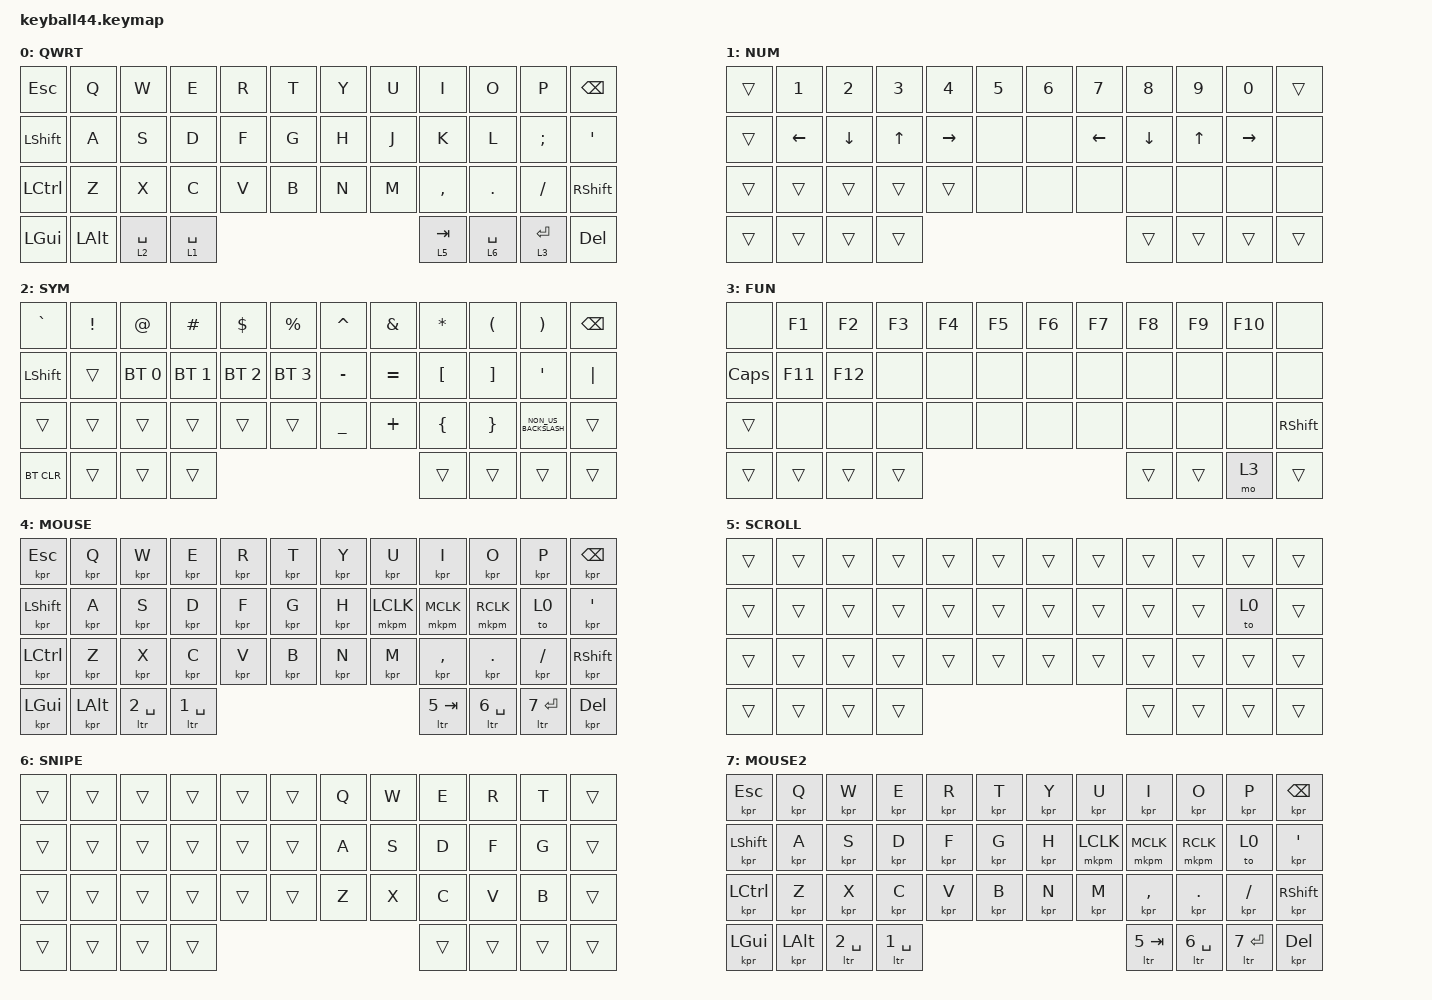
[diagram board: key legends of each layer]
#define DEFAULT 0
#define NUM     1
#define SYM     2
#define FUN     3
#define MOUSE   4
#define SCROLL  5
#define SNIPE   6
#define MOUSE2  7

#include <behaviors/mouse_keys.dtsi>
#include <behaviors.dtsi>
#include <dt-bindings/zmk/bt.h>
#include <dt-bindings/zmk/keys.h>
#include <dt-bindings/zmk/mouse.h>

&lt {
    tapping-term-ms = <120>;
    flavor = "balanced";
    quick-tap-ms = <85>;
};

&mt {
    tapping-term-ms = <200>;
    flavor = "tap-preferred";
    quick-tap-ms = <100>;
};

&sl {
    release-after-ms = <2000>;
};

&caps_word { continue-list = <UNDERSCORE MINUS>; };

/ { 
    // Mouse Click Macros
    mkpm: mouse_click_macro {
        compatible = "zmk,behavior-macro-one-param";
        #binding-cells = <1>;
        wait-ms = <0>;
        tap-ms = <0>;
        bindings = <&sl MOUSE2>,
                   <&macro_param_1to1>, 
                   <&macro_press &mkp MACRO_PLACEHOLDER>,
                   <&macro_pause_for_release>,
                   <&macro_param_1to1>,
                   <&macro_release &mkp MACRO_PLACEHOLDER>;
    };
	
	//	LAYER JUMP
	lj: layer_jump {
        compatible = "zmk,behavior-macro-one-param";
        #binding-cells = <1>;
        wait-ms = <0>;
        tap-ms = <0>;
        bindings = <&macro_param_1to1>, 
                   <&to MACRO_PLACEHOLDER>,
                   <&macro_pause_for_release>,
                   <&to 0>;
	};
	
	kpr: key_press_return {
        compatible = "zmk,behavior-macro-one-param";
        #binding-cells = <1>;
        wait-ms = <0>;
        tap-ms = <0>;
        bindings = <&to 0>,
				   <&macro_param_1to1>, 
                   <&macro_press &kp MACRO_PLACEHOLDER>,
                   <&macro_pause_for_release>,
                   <&macro_param_1to1>,
                   <&macro_release &kp MACRO_PLACEHOLDER>,
				   <&to 0>;
	};
	
	ltr: layer_tap_return {
            compatible = "zmk,behavior-macro-two-param";
            #binding-cells = <2>;
            bindings = <&to 0>,
			           <&macro_wait_time 50>,
					   <&macro_param_1to1>, 
					   <&macro_param_2to2>,
                       <&macro_press &lt MACRO_PLACEHOLDER MACRO_PLACEHOLDER>,
					   <&macro_pause_for_release>,
					   <&macro_param_1to1>, 
					   <&macro_param_2to2>,
                       <&macro_release &lt MACRO_PLACEHOLDER MACRO_PLACEHOLDER>,
					   <&to 0>;
	};
};

/ {
    // custom shift using mod-morph 

    behaviors {
        cmqus: comma_question {
            compatible = "zmk,behavior-mod-morph";
            label = "COMMA_QUESTION";
            #binding-cells = <0>;
            bindings = <&kp COMMA>, <&kp QUESTION>;

            mods = <(MOD_LSFT|MOD_RSFT)>;
        };

        dtsmi: dot_semi {
            compatible = "zmk,behavior-mod-morph";
            label = "DOT_SEMI";
            #binding-cells = <0>;
            bindings = <&kp DOT>, <&kp SEMI>;

            mods = <(MOD_LSFT|MOD_RSFT)>;
        };
    };

    keymap {
        compatible = "zmk,keymap";

        default_layer {
            label = "QWRT";
            bindings = <
&kp ESCAPE      &kp Q     &kp W         &kp E        &kp R        &kp T                 &kp Y            &kp U  &kp I      &kp O    &kp P      &kp BACKSPACE
&kp LEFT_SHIFT  &kp A     &kp S         &kp D        &kp F        &kp G                 &kp H            &kp J  &kp K      &kp L    &kp SEMI   &kp SQT
&kp LCTRL       &kp Z     &kp X         &kp C        &kp V        &kp B                 &kp N            &kp M  &kp COMMA  &kp DOT  &kp SLASH  &kp RIGHT_SHIFT
&kp LGUI        &kp LALT   		    &lt 2 SPACE  &lt 1 SPACE  &lt 5 TAB                 &lt 6 SPACE      &lt 3 ENTER                           &kp DELETE
            >;
        };

        number_layer {
            label = "NUM";
            bindings = <
&trans  &kp NUMBER_1  &kp NUMBER_2  &kp NUMBER_3  &kp NUMBER_4  &kp NUMBER_5              &kp NUMBER_6  &kp NUMBER_7  &kp NUMBER_8  &kp NUMBER_9  &kp NUMBER_0  &trans
&trans  &kp LEFT      &kp DOWN      &kp UP_ARROW  &kp RIGHT     &none                     &none         &kp LEFT      &kp DOWN      &kp UP_ARROW  &kp RIGHT     &none
&trans  &trans        &trans        &trans        &trans        &none                     &none         &none         &none         &none         &none         &none
&trans  &trans        &trans        &trans        &trans                          &trans  &trans                                                                &trans
            >;
        };

        symbol_layer {
            label = "SYM";
            bindings = <
&kp GRAVE       &kp EXCLAMATION  &kp AT_SIGN   &kp HASH      &kp DOLLAR    &kp PERCENT              &kp CARET       &kp AMPERSAND  &kp ASTERISK      &kp LEFT_PARENTHESIS  &kp RIGHT_PARENTHESIS  &kp BACKSPACE
&kp LEFT_SHIFT   &trans          &bt BT_SEL 0  &bt BT_SEL 1  &bt BT_SEL 2  &bt BT_SEL 3             &kp MINUS       &kp EQUAL      &kp LEFT_BRACKET  &kp RIGHT_BRACKET     &kp SQT                &kp PIPE
&trans           &trans           &trans        &trans        &trans        &trans                   &kp UNDERSCORE  &kp PLUS       &kp LEFT_BRACE    &kp RIGHT_BRACE       &kp NON_US_BACKSLASH   &trans
&bt BT_CLR       &trans           &trans        &trans        &trans                         &trans  &trans                                                                                        &trans
            >;
        };

        function_layer {
            label = "FUN";
            bindings = <
&none      &kp F1  &kp F2   &kp F3   &kp F4   &kp F5             &kp F6 &kp F7 &kp F8 &kp F9 &kp F10   &none
&kp CAPSLOCK  &kp F11 &kp F12  &none &none &none              &none  &none  &none  &none  &none  &none
&trans     &none   &none    &none    &none &none              &none  &none  &none  &none  &none  &kp RIGHT_SHIFT
&trans     &trans  &trans   &trans   &trans              &trans  &mo 3                              &trans
            >;
        };

        mouse_layer {
            label = "MOUSE";
            bindings = <
&kpr ESCAPE      &kpr Q     &kpr W         &kpr E        &kpr R        &kpr T                 &kpr Y            &kpr U  	  &kpr I      &kpr O      &kpr P      &kpr BACKSPACE
&kpr LEFT_SHIFT  &kpr A     &kpr S         &kpr D        &kpr F        &kpr G                 &kpr H            &mkpm LCLK    &mkpm MCLK  &mkpm RCLK  &to 0       &kpr SQT
&kpr LCTRL       &kpr Z     &kpr X         &kpr C        &kpr V        &kpr B                 &kpr N            &kpr M        &kpr COMMA  &kpr DOT    &kpr SLASH  &kpr RIGHT_SHIFT
&kpr LGUI        &kpr LALT  			   &ltr 2 SPACE  &ltr 1 SPACE  &ltr 5 TAB             &ltr 6 SPACE      &ltr 7 ENTER  			                          &kpr DELETE
            >;
        };

        scroll_layer {
            label = "SCROLL";
            bindings = <
&trans  &trans  &trans  &trans  &trans  &trans              &trans  &trans  &trans  &trans  &trans  &trans
&trans  &trans  &trans  &trans  &trans  &trans              &trans  &trans  &trans  &trans  &to 0   &trans
&trans  &trans  &trans  &trans  &trans  &trans              &trans  &trans  &trans  &trans  &trans  &trans
&trans  &trans  &trans  &trans  &trans              &trans  &trans                                  &trans
            >;
        };

        snipe_layer {
            label = "SNIPE";
            bindings = <	
&trans  &trans  &trans  &trans  &trans  &trans              &kp Q  &kp W  &kp E  &kp R  &kp T  &trans
&trans  &trans  &trans  &trans  &trans  &trans              &kp A  &kp S  &kp D  &kp F  &kp G  &trans
&trans  &trans  &trans  &trans  &trans  &trans              &kp Z  &kp X  &kp C  &kp V  &kp B  &trans
&trans  &trans  &trans  &trans  &trans              &trans  &trans                                  &trans
            >;
        };

        mouse2_layer {
            label = "MOUSE2";
            bindings = <
&kpr ESCAPE      &kpr Q     &kpr W         &kpr E        &kpr R        &kpr T                 &kpr Y            &kpr U  	  &kpr I      &kpr O      &kpr P      &kpr BACKSPACE
&kpr LEFT_SHIFT  &kpr A     &kpr S         &kpr D        &kpr F        &kpr G                 &kpr H            &mkpm LCLK    &mkpm MCLK  &mkpm RCLK  &to 0       &kpr SQT
&kpr LCTRL       &kpr Z     &kpr X         &kpr C        &kpr V        &kpr B                 &kpr N            &kpr M        &kpr COMMA  &kpr DOT    &kpr SLASH  &kpr RIGHT_SHIFT
&kpr LGUI        &kpr LALT  			   &ltr 2 SPACE  &ltr 1 SPACE  &ltr 5 TAB             &ltr 6 SPACE      &ltr 7 ENTER  			                          &kpr DELETE
            >;
        };
    };
};
 
